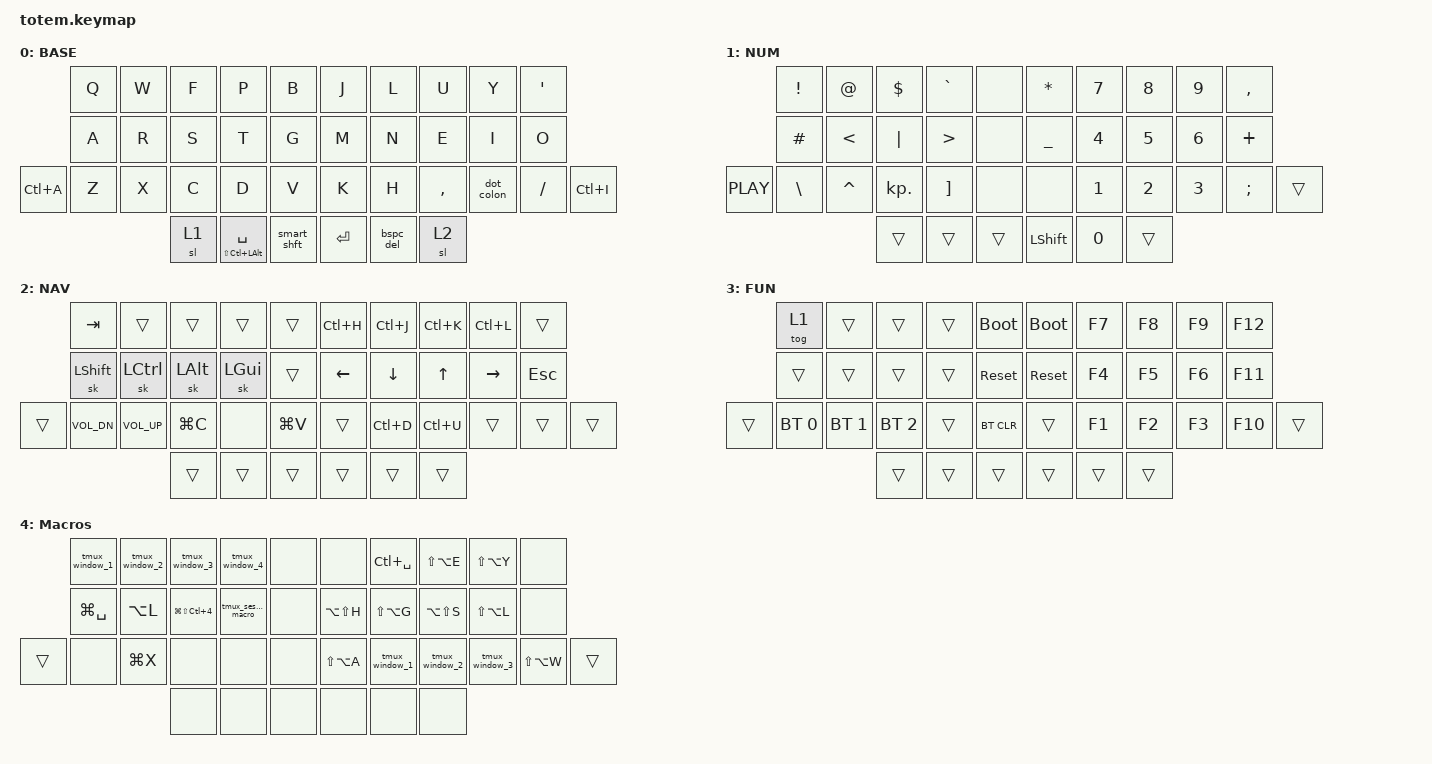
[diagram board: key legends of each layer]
//
//                                                        ▀▀▀▀▀     ▀▀▀▀▀          ▀▀█▀▀
//                                                        ▄▀▀▀▄  ▄  ▄▀▀▀▄  ▄  ▄▀▀▀▄  █  ▄▀▀▀▄
//                                                        █   █  █  █   █  █  █   █  █  █   █
//                                                         ▀▀▀   █   ▀▀▀   █   ▀▀▀   ▀   ▀▀▀
//                                                               █      ▄▄▄█▄▄▄    █   █  
//                                                               ▀      █  █  █     █▄█
//                                                             ▀▀▀▀▀    █  █  █      ▀
//                                                                      ▀  ▀  ▀
//
// ▄▄▄▄▄▄▄▄▄▄▄▄▄▄▄▄▄▄▄▄▄▄▄▄▄▄▄▄▄▄▄▄▄▄▄▄▄▄▄▄▄▄▄▄▄▄▄▄▄▄▄▄▄▄▄▄▄▄▄▄▄▄▄▄▄▄▄▄▄▄▄▄▄▄▄▄▄▄▄▄▄▄▄▄▄▄▄▄▄▄▄▄▄▄▄▄▄▄▄▄▄▄▄▄▄▄▄▄▄▄▄▄▄▄▄▄▄▄▄▄▄▄▄▄▄▄▄▄▄▄▄▄▄▄▄▄▄▄▄▄▄▄▄▄▄▄▄▄▄

#include <behaviors.dtsi>
#include <dt-bindings/zmk/bt.h>
#include <dt-bindings/zmk/keys.h>

#define BASE 0
#define NUM  1
#define NAV  2
#define FUN  3
#define Macros  4

&mt {
    quick-tap-ms = <100>;
    global-quick-tap;
    flavor = "tap-preferred";
    tapping-term-ms = <170>;
};

/ {
    conditional_layers {
        compatible = "zmk,conditional-layers";

        tri_layer {
            if-layers = <1 2>;
            then-layer = <3>;
        };
    };

    combos {
        compatible = "zmk,combos";

        combotab {
            bindings = <&kp TAB>;
            key-positions = <1 2>;
            layers = <0>;
        };

        comboesc {
            bindings = <&kp ESC>;
            key-positions = <7 8>;
            layers = <0>;
        };

        combo_macro_lyr {
            bindings = <&sl 4>;
            key-positions = <28 29>;
            layers = <0>;
        };

        combo_arrow {
            bindings = <&macro_arrow>;
            key-positions = <13 12>;
            layers = <0>;
            require-prior-idle-ms = <130>;
        };

        combo_parenthesis {
            bindings = <&kp LEFT_PARENTHESIS>;
            key-positions = <11 13>;
            layers = <0>;
            require-prior-idle-ms = <100>;
        };

        combo_braces {
            bindings = <&kp LEFT_BRACE>;
            key-positions = <1 3>;
            layers = <0>;
            require-prior-idle-ms = <100>;
        };

        combo_bracket {
            bindings = <&kp LEFT_BRACKET>;
            key-positions = <24 22>;
            layers = <0>;
            require-prior-idle-ms = <100>;
        };

        equals_combo {
            bindings = <&kp KP_EQUAL>;
            key-positions = <19 18>;
            layers = <0>;
            require-prior-idle-ms = <100>;
        };

        combo_del_word {
            bindings = <&kp LA(BACKSPACE)>;
            key-positions = <17 18>;
            require-prior-idle-ms = <100>;
            layers = <0>;
        };

        combo_quote {
            bindings = <&kp DOUBLE_QUOTES>;
            key-positions = <2 3>;
            layers = <0>;
        };

        combo_close_parenthesis {
            bindings = <&kp RIGHT_PARENTHESIS>;
            key-positions = <18 16>;
            layers = <0>;
            require-prior-idle-ms = <150>;
            timeout-ms = <25>;
        };

        combo_fat_arrow {
            bindings = <&macro_fat_arrow>;
            key-positions = <17 16>;
            layers = <0>;
            require-prior-idle-ms = <150>;
            timeout-ms = <25>;
        };

        combo_close_braces {
            bindings = <&kp RIGHT_BRACE>;
            key-positions = <6 8>;
            layers = <0>;
        };

        comboMinus {
            bindings = <&kp MINUS>;
            key-positions = <29 30>;
            layers = <0>;
        };

        combo_close_bracket {
            bindings = <&kp RIGHT_BRACKET>;
            key-positions = <29 27>;
            require-prior-idle-ms = <150>;
            layers = <0>;
        };
    };

    behaviors {
        bspc_del: backspace_delete {
            compatible = "zmk,behavior-mod-morph";
            label = "BACKSPACE_DELETE";
            #binding-cells = <0>;
            bindings = <&kp BACKSPACE>, <&kp DELETE>;

            mods = <(MOD_LSFT|MOD_RSFT)>;
            keep-mods = <(MOD_RSFT)>;
        };

        smart_shft: smart_shift {
            compatible = "zmk,behavior-mod-morph";
            label = "SMART_SHIFT";
            #binding-cells = <0>;
            bindings = <&sk LSHFT>, <&caps_word>;

            mods = <(MOD_LSFT)>;
        };

        comma_semi: comma_semi {
            compatible = "zmk,behavior-mod-morph";
            label = "COMMA_SEMI";
            #binding-cells = <0>;
            bindings = <&kp COMMA>, <&kp SEMI>;

            mods = <(MOD_LSFT)>;
        };

        dot_colon: dot_colon {
            compatible = "zmk,behavior-mod-morph";
            label = "DOT_COLON";
            #binding-cells = <0>;
            bindings = <&kp DOT>, <&kp COLON>;

            mods = <(MOD_LSFT)>;
        };

        qmrk_excl: qmrk_excl {
            compatible = "zmk,behavior-mod-morph";
            label = "QUESTION_EXCLAMATION";
            #binding-cells = <0>;
            bindings = <&kp QMARK>, <&kp EXCL>;

            mods = <(MOD_LSFT)>;
        };

        slh_morph: slh_morph {
            compatible = "zmk,behavior-mod-morph";
            label = "SLASH_MORPH";
            #binding-cells = <0>;
            bindings = <&kp FSLH>, <&kp BSLH>;

            mods = <(MOD_LSFT)>;
        };

        amps_morph: amps_morph {
            compatible = "zmk,behavior-mod-morph";
            label = "AMPERSAND_MORPH";
            #binding-cells = <0>;
            bindings = <&kp AMPS>, <&kp PIPE>;

            mods = <(MOD_LSFT)>;
        };

        mt_balanced: mt_balanced {
            compatible = "zmk,behavior-hold-tap";
            label = "MT_BALANCED";
            bindings = <&kp>, <&kp>;

            #binding-cells = <2>;
            tapping-term-ms = <200>;
            flavor = "balanced";
        };
    };

    macros {
        tmux_window_1: tmux_window_1 {
            compatible = "zmk,behavior-macro";
            #binding-cells = <0>;
            bindings =
                <&macro_press>,
                <&kp LCTRL>,
                <&macro_tap>,
                <&kp A>,
                <&macro_release>,
                <&kp LCTRL>,
                <&macro_tap>,
                <&kp N1>;

            label = "TMUX_WINDOW_1";
        };

        tmux_window_2: tmux_window_2 {
            compatible = "zmk,behavior-macro";
            #binding-cells = <0>;
            bindings =
                <&macro_press>,
                <&kp LCTRL>,
                <&macro_tap>,
                <&kp A>,
                <&macro_release>,
                <&kp LCTRL>,
                <&macro_tap>,
                <&kp N2>;

            label = "TMUX_WINDOW_2";
        };

        tmux_window_3: tmux_window_3 {
            compatible = "zmk,behavior-macro";
            #binding-cells = <0>;
            bindings =
                <&macro_press>,
                <&kp LCTRL>,
                <&macro_tap>,
                <&kp A>,
                <&macro_release>,
                <&kp LCTRL>,
                <&macro_tap>,
                <&kp N3>;

            label = "TMUX_WINDOW_3";
        };

        tmux_window_4: tmux_window_4 {
            compatible = "zmk,behavior-macro";
            #binding-cells = <0>;
            bindings =
                <&macro_press>,
                <&kp LCTRL>,
                <&macro_tap>,
                <&kp A>,
                <&macro_release>,
                <&kp LCTRL>,
                <&macro_tap>,
                <&kp N4>;

            label = "TMUX_WINDOW_4";
        };

        macro_arrow: macro_arrow {
            compatible = "zmk,behavior-macro";
            #binding-cells = <0>;
            bindings = <&macro_tap>, <&kp MINUS &kp GREATER_THAN>;

            label = "MACRO_ARROW";
        };

        macro_fat_arrow: macro_fat_arrow {
            compatible = "zmk,behavior-macro";
            #binding-cells = <0>;
            bindings = <&macro_tap>, <&kp KP_EQUAL &kp GREATER_THAN>;

            label = "MACRO_FAT_ARROW";
        };

        tmux_session_macro: tmux_session_macro {
            compatible = "zmk,behavior-macro";
            #binding-cells = <0>;
            bindings =
                <&macro_press>,
                <&kp LCTRL>,
                <&macro_tap>,
                <&kp A>,
                <&macro_release>,
                <&kp LCTRL>,
                <&macro_tap>,
                <&kp LS(O)>;

            label = "TMUX_SESSION_MACRO";
        };
    };

    keymap {
        compatible = "zmk,keymap";

        // ▄▄▄▄▄▄▄▄▄▄▄▄▄▄▄▄▄▄▄▄▄▄▄▄▄▄▄▄▄▄▄▄▄▄▄▄▄▄▄▄▄▄▄▄▄▄▄▄▄▄▄▄▄▄▄▄▄▄▄▄▄▄▄▄▄▄▄▄▄▄▄▄▄▄▄▄▄▄▄▄▄▄▄▄▄▄▄▄▄▄▄▄▄▄▄▄▄▄▄▄▄▄▄▄▄▄▄▄▄▄▄▄▄▄▄▄▄▄▄▄▄▄▄▄▄▄▄▄▄▄▄▄▄▄▄▄▄▄▄▄▄▄▄▄▄▄▄▄▄

        base_layer {
            // ┏━━━━━━━━━━━━━━━━━━━━━━━━━━━━━━━━━━━━━━━┓

            label = "BASE";

            // ┗━━━━━━━━━━━━━━━━━━━━━━━━━━━━━━━━━━━━━━━┛
            //             ┏━━━━━━━━━━━┳━━━━━━━━━━━┳━━━━━━━━━━━┳━━━━━━━━━━━┳━━━━━━━━━━━┓   ┏━━━━━━━━━━━┳━━━━━━━━━━━┳━━━━━━━━━━━┳━━━━━━━━━━━┳━━━━━━━━━━━┓
            //             ┃     Q     ┃     W     ┃     F     ┃     P     ┃     G     ┃   ┃     J     ┃     L     ┃     U     ┃     Y     ┃     ;     ┃
            //             ┣━━━━━━━━━━━╋━━━━━━━━━━━╋━━━━━━━━━━━╋━━━━━━━━━━━╋━━━━━━━━━━━┫   ┣━━━━━━━━━━━╋━━━━━━━━━━━╋━━━━━━━━━━━╋━━━━━━━━━━━╋━━━━━━━━━━━┫
            //             ┃     A     ┃     R     ┃     S     ┃     T     ┃     D     ┃   ┃     H     ┃     N     ┃     E     ┃     I     ┃     O     ┃ 
            // ┏━━━━━━━━━━━╋━━━━━━━━━━━╋━━━━━━━━━━━╋━━━━━━━━━━━╋━━━━━━━━━━━╋━━━━━━━━━━━┫   ┣━━━━━━━━━━━╋━━━━━━━━━━━╋━━━━━━━━━━━╋━━━━━━━━━━━╋━━━━━━━━━━━╋━━━━━━━━━━━┓
            // ┃     Q     ┃     Z     ┃     X     ┃     C     ┃     V     ┃     B     ┃   ┃     K     ┃     M     ┃     ,     ┃     .     ┃     /     ┃     \     ┃
            // ┗━━━━━━━━━━━┻━━━━━━━━━━━┻━━━━━━━━━━━╋━━━━━━━━━━━╋━━━━━━━━━━━╋━━━━━━━━━━━┫   ┣━━━━━━━━━━━╋━━━━━━━━━━━╋━━━━━━━━━━━╋━━━━━━━━━━━┻━━━━━━━━━━━┻━━━━━━━━━━━┛
            //                                     ┃    DEL    ┃    TAB    ┃    SPC    ┃   ┃   ENTER   ┃           ┃   BSPC    ┃
            //                                     ┗━━━━━━━━━━━┻━━━━━━━━━━━┻━━━━━━━━━━━┛   ┗━━━━━━━━━━━┻━━━━━━━━━━━┻━━━━━━━━━━━┛

            bindings = <
           &kp Q  &kp W  &kp F  &kp P                            &kp B          &kp J      &kp L      &kp U      &kp Y       &kp SQT
           &kp A  &kp R  &kp S  &kp T                            &kp G          &kp M      &kp N      &kp E      &kp I       &kp O
&kp LC(A)  &kp Z  &kp X  &kp C  &kp D                            &kp V          &kp K      &kp H      &kp COMMA  &dot_colon  &kp SLASH  &kp LC(I)
                         &sl 1  &mt_balanced LS(LC(LALT)) SPACE  &smart_shft    &kp ENTER  &bspc_del  &sl 2
            >;
        };

        // ▄▄▄▄▄▄▄▄▄▄▄▄▄▄▄▄▄▄▄▄▄▄▄▄▄▄▄▄▄▄▄▄▄▄▄▄▄▄▄▄▄▄▄▄▄▄▄▄▄▄▄▄▄▄▄▄▄▄▄▄▄▄▄▄▄▄▄▄▄▄▄▄▄▄▄▄▄▄▄▄▄▄▄▄▄▄▄▄▄▄▄▄▄▄▄▄▄▄▄▄▄▄▄▄▄▄▄▄▄▄▄▄▄▄▄▄▄▄▄▄▄▄▄▄▄▄▄▄▄▄▄▄▄▄▄▄▄▄▄▄▄▄▄▄▄▄▄▄▄

        num_layer {
            // ┏━━━━━━━━━━━━━━━━━━━━━━━━━━━━━━━━━━━━━━━┓

            label = "NUM";

            // ┗━━━━━━━━━━━━━━━━━━━━━━━━━━━━━━━━━━━━━━━┛
            //             ┏━━━━━━━━━━━┳━━━━━━━━━━━┳━━━━━━━━━━━┳━━━━━━━━━━━┳━━━━━━━━━━━┓   ┏━━━━━━━━━━━┳━━━━━━━━━━━┳━━━━━━━━━━━┳━━━━━━━━━━━┳━━━━━━━━━━━┓
            //             ┃           ┃           ┃     UP    ┃           ┃     {     ┃   ┃     }     ┃     7     ┃     8     ┃     9     ┃     +     ┃
            //             ┣━━━━━━━━━━━╋━━━━━━━━━━━╋━━━━━━━━━━━╋━━━━━━━━━━━╋━━━━━━━━━━━┫   ┣━━━━━━━━━━━╋━━━━━━━━━━━╋━━━━━━━━━━━╋━━━━━━━━━━━╋━━━━━━━━━━━┫
            //             ┃   SHIFT   ┃   LEFT    ┃    DOWN   ┃   RIGHT   ┃     [     ┃   ┃     ]     ┃     4     ┃     5     ┃     6     ┃     -     ┃
            // ┏━━━━━━━━━━━╋━━━━━━━━━━━╋━━━━━━━━━━━╋━━━━━━━━━━━╋━━━━━━━━━━━╋━━━━━━━━━━━┫   ┣━━━━━━━━━━━╋━━━━━━━━━━━╋━━━━━━━━━━━╋━━━━━━━━━━━╋━━━━━━━━━━━╋━━━━━━━━━━━┓
            // ┃           ┃           ┃   P UP    ┃  C LOCK   ┃  P DOWN   ┃     (     ┃   ┃     )     ┃     1     ┃     2     ┃     3     ┃     *     ┃           ┃
            // ┗━━━━━━━━━━━┻━━━━━━━━━━━┻━━━━━━━━━━━╋━━━━━━━━━━━╋━━━━━━━━━━━╋━━━━━━━━━━━┫   ┣━━━━━━━━━━━╋━━━━━━━━━━━╋━━━━━━━━━━━╋━━━━━━━━━━━┻━━━━━━━━━━━┻━━━━━━━━━━━┛
            //                                     ┃           ┃    TAB    ┃    SPC    ┃   ┃    DEL    ┃     0     ┃           ┃
            //                                     ┗━━━━━━━━━━━┻━━━━━━━━━━━┻━━━━━━━━━━━┛   ┗━━━━━━━━━━━┻━━━━━━━━━━━┻━━━━━━━━━━━┛

            bindings = <
            &kp EXCLAMATION  &kp AT         &kp DOLLAR  &kp GRAVE         &none     &kp STAR        &kp N7  &kp N8  &kp N9  &kp COMMA
            &kp HASH         &kp LESS_THAN  &kp PIPE    &kp GREATER_THAN  &none     &kp UNDER       &kp N4  &kp N5  &kp N6  &kp PLUS
&kp C_PLAY  &kp BACKSLASH    &kp CARET      &kp KP_DOT  &kp RBKT          &none     &none           &kp N1  &kp N2  &kp N3  &kp SEMI   &trans
                                            &trans      &trans            &trans    &kp LEFT_SHIFT  &kp N0  &trans
            >;
        };

        // ▄▄▄▄▄▄▄▄▄▄▄▄▄▄▄▄▄▄▄▄▄▄▄▄▄▄▄▄▄▄▄▄▄▄▄▄▄▄▄▄▄▄▄▄▄▄▄▄▄▄▄▄▄▄▄▄▄▄▄▄▄▄▄▄▄▄▄▄▄▄▄▄▄▄▄▄▄▄▄▄▄▄▄▄▄▄▄▄▄▄▄▄▄▄▄▄▄▄▄▄▄▄▄▄▄▄▄▄▄▄▄▄▄▄▄▄▄▄▄▄▄▄▄▄▄▄▄▄▄▄▄▄▄▄▄▄▄▄▄▄▄▄▄▄▄▄▄▄▄

        nav_layer {
            // ┏━━━━━━━━━━━━━━━━━━━━━━━━━━━━━━━━━━━━━━━┓

            label = "NAV";

            // ┗━━━━━━━━━━━━━━━━━━━━━━━━━━━━━━━━━━━━━━━┛
            //             ┏━━━━━━━━━━━┳━━━━━━━━━━━┳━━━━━━━━━━━┳━━━━━━━━━━━┳━━━━━━━━━━━┓   ┏━━━━━━━━━━━┳━━━━━━━━━━━┳━━━━━━━━━━━┳━━━━━━━━━━━┳━━━━━━━━━━━┓
            //             ┃     !     ┃     @     ┃     #     ┃     $     ┃     %     ┃   ┃     ˆ     ┃     &     ┃     Ü     ┃     '     ┃     "     ┃
            //             ┣━━━━━━━━━━━╋━━━━━━━━━━━╋━━━━━━━━━━━╋━━━━━━━━━━━╋━━━━━━━━━━━┫   ┣━━━━━━━━━━━╋━━━━━━━━━━━╋━━━━━━━━━━━╋━━━━━━━━━━━╋━━━━━━━━━━━┫
            //             ┃     Ä     ┃           ┃    SZ     ┃           ┃           ┃   ┃   MUTE    ┃   YEN     ┃   EURO    ┃  POUND    ┃     Ö     ┃
            // ┏━━━━━━━━━━━╋━━━━━━━━━━━╋━━━━━━━━━━━╋━━━━━━━━━━━╋━━━━━━━━━━━╋━━━━━━━━━━━┫   ┣━━━━━━━━━━━╋━━━━━━━━━━━╋━━━━━━━━━━━╋━━━━━━━━━━━╋━━━━━━━━━━━╋━━━━━━━━━━━┓
            // ┃           ┃  EMAIL1   ┃  EMAIL2   ┃           ┃           ┃           ┃   ┃   VOL-    ┃   VOL+    ┃   LAST    ┃   NEXT    ┃     \     ┃           ┃
            // ┗━━━━━━━━━━━┻━━━━━━━━━━━┻━━━━━━━━━━━╋━━━━━━━━━━━╋━━━━━━━━━━━╋━━━━━━━━━━━┫   ┣━━━━━━━━━━━╋━━━━━━━━━━━╋━━━━━━━━━━━╋━━━━━━━━━━━┻━━━━━━━━━━━┻━━━━━━━━━━━┛
            //                                     ┃           ┃    GIF    ┃    ADJ    ┃   ┃           ┃           ┃           ┃
            //                                     ┗━━━━━━━━━━━┻━━━━━━━━━━━┻━━━━━━━━━━━┛   ┗━━━━━━━━━━━┻━━━━━━━━━━━┻━━━━━━━━━━━┛

            bindings = <
        &kp TAB         &trans           &trans     &trans    &trans       &kp LC(H)  &kp LC(J)  &kp LC(K)  &kp LC(L)  &trans
        &sk LEFT_SHIFT  &sk LCTRL        &sk LALT   &sk LGUI  &trans       &kp LEFT   &kp DOWN   &kp UP     &kp RIGHT  &kp ESC
&trans  &kp C_VOL_DN    &kp C_VOLUME_UP  &kp LG(C)  &none     &kp LG(V)    &trans     &kp LC(D)  &kp LC(U)  &trans     &trans   &trans
                                         &trans     &trans    &trans       &trans     &trans     &trans
            >;
        };

        // ▄▄▄▄▄▄▄▄▄▄▄▄▄▄▄▄▄▄▄▄▄▄▄▄▄▄▄▄▄▄▄▄▄▄▄▄▄▄▄▄▄▄▄▄▄▄▄▄▄▄▄▄▄▄▄▄▄▄▄▄▄▄▄▄▄▄▄▄▄▄▄▄▄▄▄▄▄▄▄▄▄▄▄▄▄▄▄▄▄▄▄▄▄▄▄▄▄▄▄▄▄▄▄▄▄▄▄▄▄▄▄▄▄▄▄▄▄▄▄▄▄▄▄▄▄▄▄▄▄▄▄▄▄▄▄▄▄▄▄▄▄▄▄▄▄▄▄▄▄

        fun_layer {
            // ┏━━━━━━━━━━━━━━━━━━━━━━━━━━━━━━━━━━━━━━━┓

            label = "FUN";

            // ┗━━━━━━━━━━━━━━━━━━━━━━━━━━━━━━━━━━━━━━━┛
            //             ┏━━━━━━━━━━━┳━━━━━━━━━━━┳━━━━━━━━━━━┳━━━━━━━━━━━┳━━━━━━━━━━━┓   ┏━━━━━━━━━━━┳━━━━━━━━━━━┳━━━━━━━━━━━┳━━━━━━━━━━━┳━━━━━━━━━━━┓
            //             ┃   RESET   ┃ BT CLEAR  ┃  OUT TOG  ┃           ┃           ┃   ┃           ┃    F7     ┃    F8     ┃    F9     ┃    F12    ┃
            //             ┣━━━━━━━━━━━╋━━━━━━━━━━━╋━━━━━━━━━━━╋━━━━━━━━━━━╋━━━━━━━━━━━┫   ┣━━━━━━━━━━━╋━━━━━━━━━━━╋━━━━━━━━━━━╋━━━━━━━━━━━╋━━━━━━━━━━━┫
            //             ┃ BOOTLOAD  ┃ BT NEXT   ┃           ┃           ┃           ┃   ┃           ┃    F4     ┃    F5     ┃    F6     ┃    F11    ┃
            // ┏━━━━━━━━━━━╋━━━━━━━━━━━╋━━━━━━━━━━━╋━━━━━━━━━━━╋━━━━━━━━━━━╋━━━━━━━━━━━┫   ┣━━━━━━━━━━━╋━━━━━━━━━━━╋━━━━━━━━━━━╋━━━━━━━━━━━╋━━━━━━━━━━━╋━━━━━━━━━━━┓
            // ┃           ┃           ┃ BT PREV   ┃           ┃           ┃           ┃   ┃           ┃    F1     ┃    F2     ┃    F3     ┃    F10    ┃           ┃
            // ┗━━━━━━━━━━━┻━━━━━━━━━━━┻━━━━━━━━━━━╋━━━━━━━━━━━╋━━━━━━━━━━━╋━━━━━━━━━━━┫   ┣━━━━━━━━━━━╋━━━━━━━━━━━╋━━━━━━━━━━━╋━━━━━━━━━━━┻━━━━━━━━━━━┻━━━━━━━━━━━┛
            //                                     ┃           ┃           ┃           ┃   ┃           ┃           ┃           ┃
            //                                     ┗━━━━━━━━━━━┻━━━━━━━━━━━┻━━━━━━━━━━━┛   ┗━━━━━━━━━━━┻━━━━━━━━━━━┻━━━━━━━━━━━┛

            bindings = <
        &tog 1        &trans        &trans        &trans  &bootloader    &bootloader  &kp F7  &kp F8  &kp F9  &kp F12
        &trans        &trans        &trans        &trans  &sys_reset     &sys_reset   &kp F4  &kp F5  &kp F6  &kp F11
&trans  &bt BT_SEL 0  &bt BT_SEL 1  &bt BT_SEL 2  &trans  &bt BT_CLR     &trans       &kp F1  &kp F2  &kp F3  &kp F10  &trans
                                    &trans        &trans  &trans         &trans       &trans  &trans
            >;
        };

        // ▄▄▄▄▄▄▄▄▄▄▄▄▄▄▄▄▄▄▄▄▄▄▄▄▄▄▄▄▄▄▄▄▄▄▄▄▄▄▄▄▄▄▄▄▄▄▄▄▄▄▄▄▄▄▄▄▄▄▄▄▄▄▄▄▄▄▄▄▄▄▄▄▄▄▄▄▄▄▄▄▄▄▄▄▄▄▄▄▄▄▄▄▄▄▄▄▄▄▄▄▄▄▄▄▄▄▄▄▄▄▄▄▄▄▄▄▄▄▄▄▄▄▄▄▄▄▄▄▄▄▄▄▄▄▄▄▄▄▄▄▄▄▄▄▄▄▄▄▄

        macro_layer {
            // ┏━━━━━━━━━━━━━━━━━━━━━━━━━━━━━━━━━━━━━━━┓

            label = "Macros";

            // ┗━━━━━━━━━━━━━━━━━━━━━━━━━━━━━━━━━━━━━━━┛
            //             ┏━━━━━━━━━━━┳━━━━━━━━━━━┳━━━━━━━━━━━┳━━━━━━━━━━━┳━━━━━━━━━━━┓   ┏━━━━━━━━━━━┳━━━━━━━━━━━┳━━━━━━━━━━━┳━━━━━━━━━━━┳━━━━━━━━━━━┓
            //             ┃ NEXT FILE ┃ MARK IN   ┃ ROTATE    ┃ MARK OUT  ┃ SHOW SNAP ┃   ┃           ┃           ┃           ┃           ┃           ┃
            //             ┣━━━━━━━━━━━╋━━━━━━━━━━━╋━━━━━━━━━━━╋━━━━━━━━━━━╋━━━━━━━━━━━┫   ┣━━━━━━━━━━━╋━━━━━━━━━━━╋━━━━━━━━━━━╋━━━━━━━━━━━╋━━━━━━━━━━━┫
            //             ┃ TVP II    ┃ LEFT      ┃ PAN       ┃ RIGHT     ┃ PLAY/FLIP ┃   ┃           ┃           ┃           ┃           ┃           ┃
            // ┏━━━━━━━━━━━╋━━━━━━━━━━━╋━━━━━━━━━━━╋━━━━━━━━━━━╋━━━━━━━━━━━╋━━━━━━━━━━━┫   ┣━━━━━━━━━━━╋━━━━━━━━━━━╋━━━━━━━━━━━╋━━━━━━━━━━━╋━━━━━━━━━━━╋━━━━━━━━━━━┓
            // ┃ FULLSCR   ┃ SHIFT     ┃ COPY      ┃ DELETE    ┃ PASTE     ┃ IMG MARK  ┃   ┃           ┃           ┃           ┃           ┃           ┃           ┃
            // ┗━━━━━━━━━━━┻━━━━━━━━━━━┻━━━━━━━━━━━╋━━━━━━━━━━━╋━━━━━━━━━━━╋━━━━━━━━━━━┫   ┣━━━━━━━━━━━╋━━━━━━━━━━━╋━━━━━━━━━━━╋━━━━━━━━━━━┻━━━━━━━━━━━┻━━━━━━━━━━━┛
            //                                     ┃           ┃ UNDO/SAVE ┃  SEL/MOV  ┃   ┃           ┃           ┃           ┃
            //                                     ┗━━━━━━━━━━━┻━━━━━━━━━━━┻━━━━━━━━━━━┛   ┗━━━━━━━━━━━┻━━━━━━━━━━━┻━━━━━━━━━━━┛

            bindings = <
        &tmux_window_1  &tmux_window_2  &tmux_window_3      &tmux_window_4       &none    &none          &kp LC(SPACE)   &kp LS(LA(E))   &kp LS(LA(Y))   &none
        &kp LG(SPACE)   &kp LA(L)       &kp LG(LS(LC(N4)))  &tmux_session_macro  &none    &kp LA(LS(H))  &kp LS(LA(G))   &kp LA(LS(S))   &kp LS(LA(L))   &none
&trans  &none           &kp LG(X)       &none               &none                &none    &kp LS(LA(A))  &tmux_window_1  &tmux_window_2  &tmux_window_3  &kp LS(LA(W))  &trans
                                        &none               &none                &none    &none          &none           &none
            >;
        };

        // ▄▄▄▄▄▄▄▄▄▄▄▄▄▄▄▄▄▄▄▄▄▄▄▄▄▄▄▄▄▄▄▄▄▄▄▄▄▄▄▄▄▄▄▄▄▄▄▄▄▄▄▄▄▄▄▄▄▄▄▄▄▄▄▄▄▄▄▄▄▄▄▄▄▄▄▄▄▄▄▄▄▄▄▄▄▄▄▄▄▄▄▄▄▄▄▄▄▄▄▄▄▄▄▄▄▄▄▄▄▄▄▄▄▄▄▄▄▄▄▄▄▄▄▄▄▄▄▄▄▄▄▄▄▄▄▄▄▄▄▄▄▄▄▄▄▄▄▄▄
    };
};
